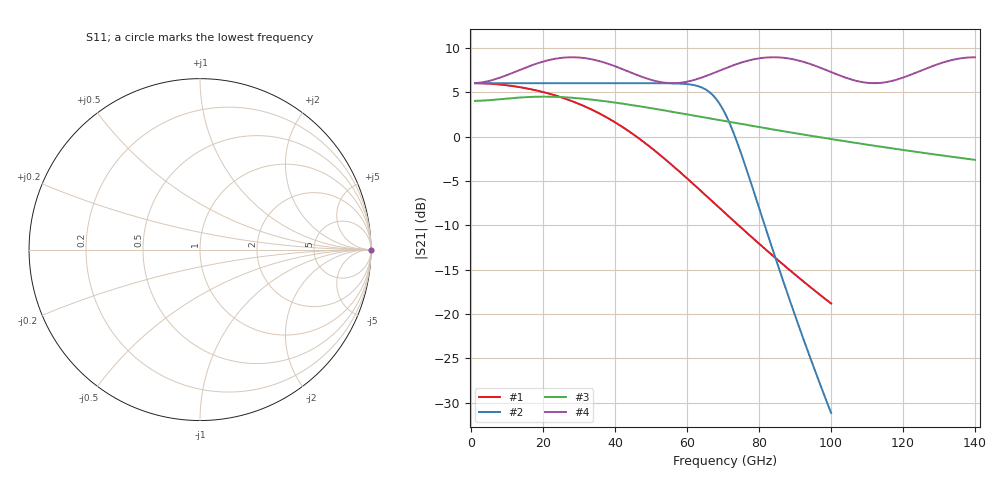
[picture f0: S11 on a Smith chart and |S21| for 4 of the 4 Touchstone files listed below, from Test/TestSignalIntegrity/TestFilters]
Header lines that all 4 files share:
! File created by SignalIntegrity v1.1.14: Signal and Power Integrity Tools
! https://github.com/TeledyneLeCroy/SignalIntegrity
# MHz S MA R 50.0
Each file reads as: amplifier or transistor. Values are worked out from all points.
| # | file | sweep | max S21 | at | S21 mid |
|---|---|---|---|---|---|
| 1 | testBesselLowPassFilter.s2p | 1 GHz to 100 GHz | 6.0 dB | 1 GHz | -1.6 dB at 51 GHz |
| 2 | testButterworthLowPassFilter.s2p | 1 GHz to 100 GHz | 6.0 dB | 38 GHz | 6.0 dB at 51 GHz |
| 3 | testCTLE.s2p | 1 GHz to 140 GHz | 4.5 dB | 20 GHz | 1.7 dB at 71 GHz |
| 4 | testFFE.s2p | 1 GHz to 140 GHz | 8.9 dB | 28 GHz | 7.8 dB at 71 GHz |
